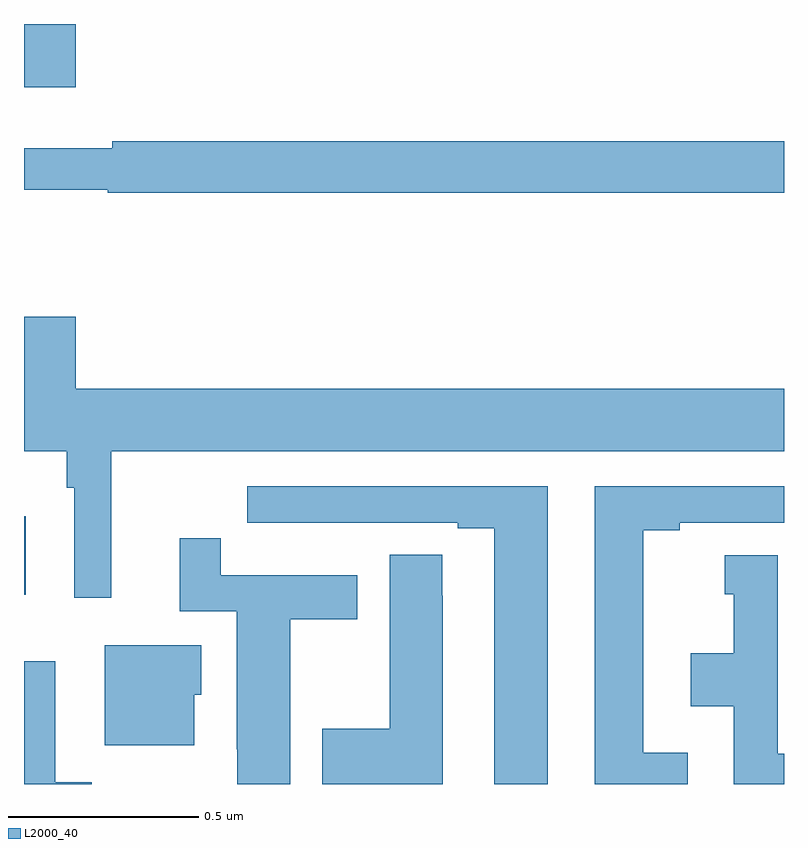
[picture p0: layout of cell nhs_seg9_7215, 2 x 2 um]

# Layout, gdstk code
import gdstk
lib = gdstk.Library(unit=1e-6, precision=1e-09)
def R(c, l, rs):  # rectangles x0, y0, x1, y1
    for r in rs: c.add(gdstk.rectangle(r[:2], r[2:], *l))
def P(c, l, *ps):  # polygons
    for p in ps: c.add(gdstk.Polygon(p, *l))
L2000_40 = (2000, 40)

nhs_seg9_7215 = lib.new_cell('nhs_seg9_7215')
R(nhs_seg9_7215, L2000_40, [(201,1239.998,201.004,1240.204), (201,1241.334,201.136,1241.5)])
P(nhs_seg9_7215, L2000_40, [(203,1241.192),(201.232,1241.192),(201.232,1241.173),(201,1241.173),(201,1241.064),(201.221,1241.064),(201.221,1241.056),(203,1241.056)],
  [(201.23,1240.376),(203,1240.376),(203,1240.54),(201.136,1240.54),(201.136,1240.729),(201,1240.729),(201,1240.376),(201.112,1240.376),(201.112,1240.28),(201.132,1240.28),(201.132,1239.99),(201.23,1239.99)],
  [(202.747,1239.582),(202.63,1239.582),(202.63,1240.168),(202.726,1240.168),(202.726,1240.188),(203,1240.188),(203,1240.284),(202.502,1240.284),(202.502,1239.5),(202.747,1239.5)],
  [(202.378,1240.284),(201.588,1240.284),(201.588,1240.188),(201.7,1240.188),(201.7,1240.187),(201.866,1240.187),(201.866,1240.188),(202.142,1240.188),(202.142,1240.173),(202.238,1240.173),(202.238,1239.5),(202.378,1239.5)],
  [(201.7,1239.934),(201.877,1239.934),(201.877,1240.05),(201.518,1240.05),(201.518,1240.147),(201.41,1240.147),(201.41,1239.954),(201.56,1239.954),(201.56,1239.592),(201.561,1239.592),(201.561,1239.5),(201.7,1239.5)],
  [(202.102,1239.995),(202.101,1239.995),(202.101,1240.103),(201.962,1240.103),(201.962,1239.645),(201.785,1239.645),(201.785,1239.5),(202.102,1239.5)],
  [(203,1239.579),(202.984,1239.579),(202.984,1240.102),(202.844,1240.102),(202.844,1239.999),(202.868,1239.999),(202.868,1239.844),(202.754,1239.844),(202.754,1239.704),(202.868,1239.704),(202.868,1239.5),(203,1239.5)],
  [(201.448,1239.735),(201.466,1239.735),(201.466,1239.865),(201.212,1239.865),(201.212,1239.602),(201.448,1239.602)],
  [(201.178,1239.505),(201.082,1239.505),(201.082,1239.823),(201,1239.823),(201,1239.5),(201.178,1239.5)])

lib.write_gds('nhs_seg9_7215.gds')
